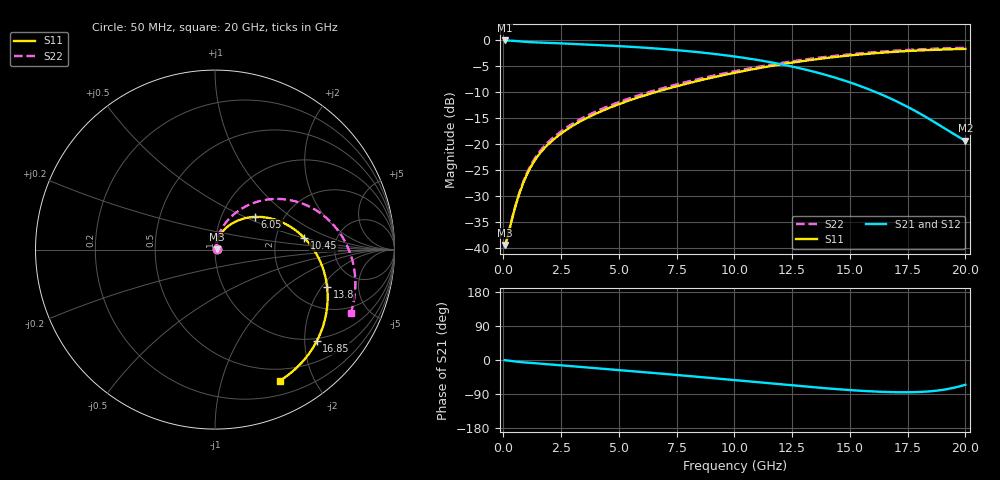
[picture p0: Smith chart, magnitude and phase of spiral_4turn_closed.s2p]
#  Hz  S  RI  R  50
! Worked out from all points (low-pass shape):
!   400 points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, 50 MHz to 20 GHz, reference 50 ohm
!   highest |S21| = -0.16 dB at 50 MHz (marker M1); lowest = -19.4 dB at 20 GHz (marker M2)
!   |S21| within 3 dB of the highest: start of sweep to 9.872 GHz
!   lowest |S11| = -39.4 dB at 50 MHz (marker M3), VSWR 1.02, Z = 51.1 + j0.213 ohm
!   |S11| at or under -10 dB: start of sweep to 6.651 GHz
!   |S22| runs from -39.7 to -1.6 dB; largest |S21 - S12| = 0.00081
!   S11 on the Smith chart (normalised r, x): 50 MHz: 1.02, +0.00; 6.05 GHz: 1.44, +0.57; 10.45 GHz: 2.92, +0.50; 13.8 GHz: 3.06, -2.27; 16.85 GHz: 0.94, -2.28; 20 GHz: 0.35, -1.55
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5e7  0.0105 0.00208  0.9822 -0.00712  0.9817 -0.00703  0.0101 0.00216
1.5e8  0.0104 0.00629  0.981 -0.0212  0.9806 -0.021  0.01 0.0065
4.5e8  0.0101 0.0196  0.9711 -0.0603  0.9712 -0.0598  0.00909 0.0204
7e8  0.0105 0.032  0.959 -0.087  0.9594 -0.0868  0.00865 0.0334
1e9  0.0133 0.0479  0.9448 -0.1124  0.9451 -0.1127  0.00992 0.0504
1.3e9  0.0188 0.0634  0.9337 -0.1346  0.9335 -0.135  0.0138 0.0676
1.65e9  0.0278 0.0798  0.9233 -0.1608  0.9229 -0.1608  0.021 0.0861
2.1e9  0.0411 0.0981  0.9084 -0.196  0.9085 -0.1957  0.0319 0.1072
3.4e9  0.0889 0.1415  0.8562 -0.2874  0.8559 -0.2873  0.0693 0.1615
4.65e9  0.1467 0.1691  0.7947 -0.3666  0.7945 -0.3668  0.1149 0.2048
6.05e9  0.2229 0.1824  0.7124 -0.4426  0.7123 -0.4427  0.1769 0.2438
6.7e9  0.2618 0.1814  0.6696 -0.4724  0.6693 -0.4723  0.2097 0.2581
8.4e9  0.3698 0.1537  0.5441 -0.5298  0.5438 -0.5297  0.3074 0.2806
1.005e10  0.4744 0.087  0.4101 -0.5509  0.4097 -0.5506  0.4161 0.2759
1.045e10  0.4981 0.0645  0.3769 -0.5501  0.3767 -0.5498  0.4438 0.2699
1.335e10  0.6179 -0.1658  0.1577 -0.4721  0.1575 -0.4714  0.6377 0.1607
1.38e10  0.6247 -0.2095  0.1304 -0.4498  0.1304 -0.4492  0.6635 0.1334
1.525e10  0.6198 -0.3549  0.0619 -0.3662  0.0621 -0.3655  0.7317 0.0308
1.67e10  0.5743 -0.4952  0.0257 -0.2745  0.026 -0.2738  0.7717 -0.0871
1.685e10  0.5675 -0.5088  0.0237 -0.265  0.0241 -0.2644  0.7741 -0.0997
1.845e10  0.4747 -0.6385  0.0216 -0.1707  0.0221 -0.1701  0.7804 -0.234
2e10  0.3603 -0.7316  0.0447 -0.0969  0.0451 -0.0962  0.7563 -0.3558
